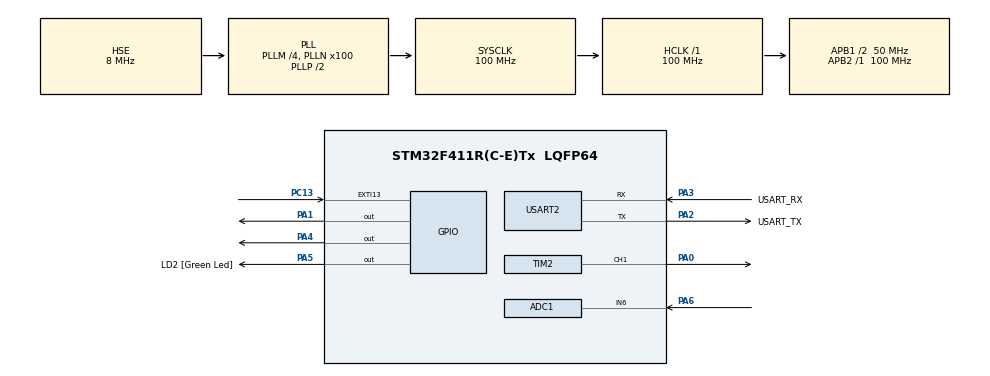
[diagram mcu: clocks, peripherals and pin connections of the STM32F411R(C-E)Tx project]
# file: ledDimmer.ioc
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ADC1.Channel-0\#ChannelRegularConversion=ADC_CHANNEL_6
ADC1.NbrOfConversionFlag=1
ADC1.Rank-0\#ChannelRegularConversion=1
ADC1.SamplingTime-0\#ChannelRegularConversion=ADC_SAMPLETIME_3CYCLES
ADC1.master=1
Mcu.Family=STM32F4
Mcu.Name=STM32F411R(C-E)Tx
Mcu.Package=LQFP64
NVIC.PriorityGroup=NVIC_PRIORITYGROUP_0
PA0-WKUP.Signal=S_TIM2_CH1_ETR
PA1.Signal=GPIO_Output
PA13.GPIO_Label=TMS
PA13.Signal=SYS_JTMS-SWDIO
PA14.GPIO_Label=TCK
PA14.Signal=SYS_JTCK-SWCLK
PA2.GPIO_Label=USART_TX
PA2.Mode=Asynchronous
PA2.Signal=USART2_TX
PA3.GPIO_Label=USART_RX
PA3.Mode=Asynchronous
PA3.Signal=USART2_RX
PA4.Signal=GPIO_Output
PA5.GPIO_Label=LD2 [Green Led]
PA5.Signal=GPIO_Output
PA6.Signal=ADCx_IN6
PB3.GPIO_Label=SWO
PB3.Signal=SYS_JTDO-SWO
PC13-ANTI_TAMP.Signal=GPXTI13
PC14-OSC32_IN.Mode=LSE-External-Oscillator
PC14-OSC32_IN.Signal=RCC_OSC32_IN
PC15-OSC32_OUT.Mode=LSE-External-Oscillator
PC15-OSC32_OUT.Signal=RCC_OSC32_OUT
PH0\ -\ OSC_IN.Mode=HSE-External-Clock-Source
PH0\ -\ OSC_IN.Signal=RCC_OSC_IN
PH1\ -\ OSC_OUT.Mode=HSE-External-Clock-Source
PH1\ -\ OSC_OUT.Signal=RCC_OSC_OUT
ProjectManager.HeapSize=0x200
ProjectManager.StackSize=0x400
ProjectManager.TargetToolchain=CMake
RCC.48MHZClocksFreq_Value=50000000
RCC.AHBFreq_Value=100000000
RCC.APB1CLKDivider=RCC_HCLK_DIV2
RCC.APB1Freq_Value=50000000
RCC.APB1TimFreq_Value=100000000
RCC.APB2Freq_Value=100000000
RCC.APB2TimFreq_Value=100000000
RCC.CortexFreq_Value=100000000
RCC.FLatency-AdvancedSettings=FLASH_LATENCY_3
RCC.HCLKFreq_Value=100000000
RCC.HSE_VALUE=8000000
RCC.HSI_VALUE=16000000
RCC.PLLM=4
RCC.PLLN=100
RCC.PLLSourceVirtual=RCC_PLLSOURCE_HSE
RCC.RCC_RTC_Clock_Source=RCC_RTCCLKSOURCE_LSE
RCC.RCC_RTC_Clock_SourceVirtual=RCC_RTCCLKSOURCE_LSE
RCC.SYSCLKFreq_VALUE=100000000
RCC.SYSCLKSource=RCC_SYSCLKSOURCE_PLLCLK
RCC.VCOOutputFreq_Value=200000000
SH.ADCx_IN6.0=ADC1_IN6,IN6
SH.S_TIM2_CH1_ETR.0=TIM2_CH1,PWM Generation1 CH1
TIM2.Channel-PWM\ Generation1\ CH1=TIM_CHANNEL_1
TIM2.Period=100-1
TIM2.Prescaler=10000-1
TIM2.Pulse-PWM\ Generation1\ CH1=5000-1
USART2.VirtualMode=VM_ASYNC
VP_RTC_VS_RTC_Activate.Mode=RTC_Enabled
VP_TIM2_VS_ClockSourceINT.Mode=Internal
board=NUCLEO-F411RE

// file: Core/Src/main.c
/* USER CODE BEGIN Header */
/**
  ******************************************************************************
  * @file           : main.c
  * @brief          : Main program body
  ******************************************************************************
  * @attention
  *
  * Copyright (c) 2025 STMicroelectronics.
  * All rights reserved.
  *
  * This software is licensed under terms that can be found in the LICENSE file
  * in the root directory of this software component.
  * If no LICENSE file comes with this software, it is provided AS-IS.
  *
  ******************************************************************************
  */
/* USER CODE END Header */
#include "main.h"

ADC_HandleTypeDef hadc1;

RTC_HandleTypeDef hrtc;

TIM_HandleTypeDef htim2;

UART_HandleTypeDef huart2;

/* USER CODE BEGIN PV */
uint32_t ccrValue = 1;
uint32_t rawValue = 1;
uint32_t speed = 0;
/* USER CODE END PV */

void SystemClock_Config(void);
static void MX_GPIO_Init(void);
static void MX_RTC_Init(void);
static void MX_TIM2_Init(void);
static void MX_USART2_UART_Init(void);
static void MX_ADC1_Init(void);

int main(void)
{

  /* MCU Configuration--------------------------------------------------------*/

  /* Reset of all peripherals, Initializes the Flash interface and the Systick. */
  HAL_Init();

  /* Configure the system clock */
  SystemClock_Config();

  /* Initialize all configured peripherals */
  MX_GPIO_Init();
  MX_RTC_Init();
  MX_TIM2_Init();
  MX_USART2_UART_Init();
  MX_ADC1_Init();

  /* Infinite loop */
  /* USER CODE BEGIN WHILE */
  HAL_TIM_PWM_Start(&htim2, TIM_CHANNEL_1);

  while (1)
  {

    // ccrValue = 100000;
    // htim2.Instance->CCR1 = rawValue;
    HAL_ADC_Start(&hadc1);
    HAL_ADC_PollForConversion(&hadc1, HAL_MAX_DELAY);
    rawValue = HAL_ADC_GetValue(&hadc1);
    ccrValue += 100;
    if (ccrValue >= 1000)
    {
      speed = ((ccrValue-1000) * 1000)/10000;
      htim2.Instance->CCR1 = speed;
    }
    else
    {
      speed = (ccrValue * 1000)/10000 ;
      htim2.Instance->CCR1 = speed;
    }

    // 방향 제어
    if(ccrValue >= 1000)
    {
        HAL_GPIO_WritePin(GPIOA, GPIO_PIN_1, GPIO_PIN_RESET);  // CW
        HAL_GPIO_WritePin(GPIOA, GPIO_PIN_4, GPIO_PIN_SET);
    }
    else
    {
        HAL_GPIO_WritePin(GPIOA, GPIO_PIN_1, GPIO_PIN_SET);    // CCW
        HAL_GPIO_WritePin(GPIOA, GPIO_PIN_4, GPIO_PIN_RESET);
    }

    HAL_Delay(1000);
    /* USER CODE END WHILE */

  }
}

void SystemClock_Config(void)
{
  RCC_OscInitTypeDef RCC_OscInitStruct = {0};
  RCC_ClkInitTypeDef RCC_ClkInitStruct = {0};

  /** Configure the main internal regulator output voltage
  */
  __HAL_RCC_PWR_CLK_ENABLE();
  __HAL_PWR_VOLTAGESCALING_CONFIG(PWR_REGULATOR_VOLTAGE_SCALE1);

  /** Initializes the RCC Oscillators according to the specified parameters
  * in the RCC_OscInitTypeDef structure.
  */
  RCC_OscInitStruct.OscillatorType = RCC_OSCILLATORTYPE_HSE|RCC_OSCILLATORTYPE_LSE;
  RCC_OscInitStruct.HSEState = RCC_HSE_BYPASS;
  RCC_OscInitStruct.LSEState = RCC_LSE_ON;
  RCC_OscInitStruct.PLL.PLLState = RCC_PLL_ON;
  RCC_OscInitStruct.PLL.PLLSource = RCC_PLLSOURCE_HSE;
  RCC_OscInitStruct.PLL.PLLM = 4;
  RCC_OscInitStruct.PLL.PLLN = 100;
  RCC_OscInitStruct.PLL.PLLP = RCC_PLLP_DIV2;
  RCC_OscInitStruct.PLL.PLLQ = 4;
  if (HAL_RCC_OscConfig(&RCC_OscInitStruct) != HAL_OK)
  {
    Error_Handler();
  }

  /** Initializes the CPU, AHB and APB buses clocks
  */
  RCC_ClkInitStruct.ClockType = RCC_CLOCKTYPE_HCLK|RCC_CLOCKTYPE_SYSCLK
                              |RCC_CLOCKTYPE_PCLK1|RCC_CLOCKTYPE_PCLK2;
  RCC_ClkInitStruct.SYSCLKSource = RCC_SYSCLKSOURCE_PLLCLK;
  RCC_ClkInitStruct.AHBCLKDivider = RCC_SYSCLK_DIV1;
  RCC_ClkInitStruct.APB1CLKDivider = RCC_HCLK_DIV2;
  RCC_ClkInitStruct.APB2CLKDivider = RCC_HCLK_DIV1;

  if (HAL_RCC_ClockConfig(&RCC_ClkInitStruct, FLASH_LATENCY_3) != HAL_OK)
  {
    Error_Handler();
  }
}

static void MX_ADC1_Init(void)
{

  ADC_ChannelConfTypeDef sConfig = {0};

  /** Configure the global features of the ADC (Clock, Resolution, Data Alignment and number of conversion)
  */
  hadc1.Instance = ADC1;
  hadc1.Init.ClockPrescaler = ADC_CLOCK_SYNC_PCLK_DIV4;
  hadc1.Init.Resolution = ADC_RESOLUTION_12B;
  hadc1.Init.ScanConvMode = DISABLE;
  hadc1.Init.ContinuousConvMode = DISABLE;
  hadc1.Init.DiscontinuousConvMode = DISABLE;
  hadc1.Init.ExternalTrigConvEdge = ADC_EXTERNALTRIGCONVEDGE_NONE;
  hadc1.Init.ExternalTrigConv = ADC_SOFTWARE_START;
  hadc1.Init.DataAlign = ADC_DATAALIGN_RIGHT;
  hadc1.Init.NbrOfConversion = 1;
  hadc1.Init.DMAContinuousRequests = DISABLE;
  hadc1.Init.EOCSelection = ADC_EOC_SINGLE_CONV;
  if (HAL_ADC_Init(&hadc1) != HAL_OK)
  {
    Error_Handler();
  }

  /** Configure for the selected ADC regular channel its corresponding rank in the sequencer and its sample time.
  */
  sConfig.Channel = ADC_CHANNEL_6;
  sConfig.Rank = 1;
  sConfig.SamplingTime = ADC_SAMPLETIME_3CYCLES;
  if (HAL_ADC_ConfigChannel(&hadc1, &sConfig) != HAL_OK)
  {
    Error_Handler();
  }

}

static void MX_RTC_Init(void)
{

  /** Initialize RTC Only
  */
  hrtc.Instance = RTC;
  hrtc.Init.HourFormat = RTC_HOURFORMAT_24;
  hrtc.Init.AsynchPrediv = 127;
  hrtc.Init.SynchPrediv = 255;
  hrtc.Init.OutPut = RTC_OUTPUT_DISABLE;
  hrtc.Init.OutPutPolarity = RTC_OUTPUT_POLARITY_HIGH;
  hrtc.Init.OutPutType = RTC_OUTPUT_TYPE_OPENDRAIN;
  if (HAL_RTC_Init(&hrtc) != HAL_OK)
  {
    Error_Handler();
  }

}

static void MX_TIM2_Init(void)
{

  TIM_ClockConfigTypeDef sClockSourceConfig = {0};
  TIM_MasterConfigTypeDef sMasterConfig = {0};
  TIM_OC_InitTypeDef sConfigOC = {0};

  htim2.Instance = TIM2;
  htim2.Init.Prescaler = 10000-1;
  htim2.Init.CounterMode = TIM_COUNTERMODE_UP;
  htim2.Init.Period = 100-1;
  htim2.Init.ClockDivision = TIM_CLOCKDIVISION_DIV1;
  htim2.Init.AutoReloadPreload = TIM_AUTORELOAD_PRELOAD_DISABLE;
  if (HAL_TIM_Base_Init(&htim2) != HAL_OK)
  {
    Error_Handler();
  }
  sClockSourceConfig.ClockSource = TIM_CLOCKSOURCE_INTERNAL;
  if (HAL_TIM_ConfigClockSource(&htim2, &sClockSourceConfig) != HAL_OK)
  {
    Error_Handler();
  }
  if (HAL_TIM_PWM_Init(&htim2) != HAL_OK)
  {
    Error_Handler();
  }
  sMasterConfig.MasterOutputTrigger = TIM_TRGO_RESET;
  sMasterConfig.MasterSlaveMode = TIM_MASTERSLAVEMODE_DISABLE;
  if (HAL_TIMEx_MasterConfigSynchronization(&htim2, &sMasterConfig) != HAL_OK)
  {
    Error_Handler();
  }
  sConfigOC.OCMode = TIM_OCMODE_PWM1;
  sConfigOC.Pulse = 5000-1;
  sConfigOC.OCPolarity = TIM_OCPOLARITY_HIGH;
  sConfigOC.OCFastMode = TIM_OCFAST_DISABLE;
  if (HAL_TIM_PWM_ConfigChannel(&htim2, &sConfigOC, TIM_CHANNEL_1) != HAL_OK)
  {
    Error_Handler();
  }
  HAL_TIM_MspPostInit(&htim2);

}

static void MX_USART2_UART_Init(void)
{

  huart2.Instance = USART2;
  huart2.Init.BaudRate = 115200;
  huart2.Init.WordLength = UART_WORDLENGTH_8B;
  huart2.Init.StopBits = UART_STOPBITS_1;
  huart2.Init.Parity = UART_PARITY_NONE;
  huart2.Init.Mode = UART_MODE_TX_RX;
  huart2.Init.HwFlowCtl = UART_HWCONTROL_NONE;
  huart2.Init.OverSampling = UART_OVERSAMPLING_16;
  if (HAL_UART_Init(&huart2) != HAL_OK)
  {
    Error_Handler();
  }

}

static void MX_GPIO_Init(void)
{
  GPIO_InitTypeDef GPIO_InitStruct = {0};

  /* GPIO Ports Clock Enable */
  __HAL_RCC_GPIOC_CLK_ENABLE();
  __HAL_RCC_GPIOH_CLK_ENABLE();
  __HAL_RCC_GPIOA_CLK_ENABLE();
  __HAL_RCC_GPIOB_CLK_ENABLE();

  /*Configure GPIO pin Output Level */
  HAL_GPIO_WritePin(GPIOA, GPIO_PIN_1|GPIO_PIN_4|LD2_Pin, GPIO_PIN_RESET);

  /*Configure GPIO pin : PC13 */
  GPIO_InitStruct.Pin = GPIO_PIN_13;
  GPIO_InitStruct.Mode = GPIO_MODE_IT_RISING;
  GPIO_InitStruct.Pull = GPIO_NOPULL;
  HAL_GPIO_Init(GPIOC, &GPIO_InitStruct);

  /*Configure GPIO pins : PA1 PA4 LD2_Pin */
  GPIO_InitStruct.Pin = GPIO_PIN_1|GPIO_PIN_4|LD2_Pin;
  GPIO_InitStruct.Mode = GPIO_MODE_OUTPUT_PP;
  GPIO_InitStruct.Pull = GPIO_NOPULL;
  GPIO_InitStruct.Speed = GPIO_SPEED_FREQ_LOW;
  HAL_GPIO_Init(GPIOA, &GPIO_InitStruct);

}

void Error_Handler(void)
{
  __disable_irq();
  while (1)
  {
  }
}
